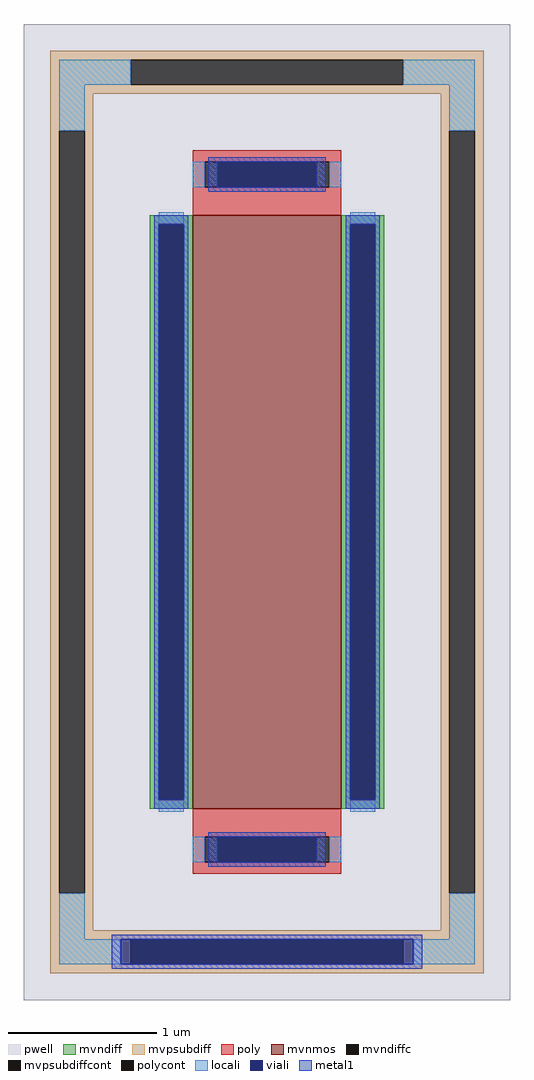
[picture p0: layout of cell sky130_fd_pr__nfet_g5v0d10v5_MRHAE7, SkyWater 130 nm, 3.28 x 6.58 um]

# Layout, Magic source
magic
tech sky130A
magscale 1 2
<< pwell >>
rect -328 -658 328 658
<< mvnmos >>
rect -100 -400 100 400
<< mvndiff >>
rect -158 388 -100 400
rect -158 -388 -146 388
rect -112 -388 -100 388
rect -158 -400 -100 -388
rect 100 388 158 400
rect 100 -388 112 388
rect 146 -388 158 388
rect 100 -400 158 -388
<< mvndiffc >>
rect -146 -388 -112 388
rect 112 -388 146 388
<< mvpsubdiff >>
rect -292 610 292 622
rect -292 576 -184 610
rect 184 576 292 610
rect -292 564 292 576
rect -292 514 -234 564
rect -292 -514 -280 514
rect -246 -514 -234 514
rect 234 514 292 564
rect -292 -564 -234 -514
rect 234 -514 246 514
rect 280 -514 292 514
rect 234 -564 292 -514
rect -292 -576 292 -564
rect -292 -610 -184 -576
rect 184 -610 292 -576
rect -292 -622 292 -610
<< mvpsubdiffcont >>
rect -184 576 184 610
rect -280 -514 -246 514
rect 246 -514 280 514
rect -184 -610 184 -576
<< poly >>
rect -100 472 100 488
rect -100 438 -84 472
rect 84 438 100 472
rect -100 400 100 438
rect -100 -438 100 -400
rect -100 -472 -84 -438
rect 84 -472 100 -438
rect -100 -488 100 -472
<< polycont >>
rect -84 438 84 472
rect -84 -472 84 -438
<< locali >>
rect -280 576 -184 610
rect 184 576 280 610
rect -280 514 -246 576
rect 246 514 280 576
rect -100 438 -84 472
rect 84 438 100 472
rect -146 388 -112 404
rect -146 -404 -112 -388
rect 112 388 146 404
rect 112 -404 146 -388
rect -100 -472 -84 -438
rect 84 -472 100 -438
rect -280 -576 -246 -514
rect 246 -576 280 -514
rect -280 -610 -197 -576
rect 197 -610 280 -576
<< viali >>
rect -67 438 67 472
rect -146 -388 -112 388
rect 112 -388 146 388
rect -67 -472 67 -438
rect -197 -610 -184 -576
rect -184 -610 184 -576
rect 184 -610 197 -576
<< metal1 >>
rect -79 472 79 478
rect -79 438 -67 472
rect 67 438 79 472
rect -79 432 79 438
rect -152 388 -106 400
rect -152 -388 -146 388
rect -112 -388 -106 388
rect -152 -400 -106 -388
rect 106 388 152 400
rect 106 -388 112 388
rect 146 -388 152 388
rect 106 -400 152 -388
rect -79 -438 79 -432
rect -79 -472 -67 -438
rect 67 -472 79 -438
rect -79 -478 79 -472
rect -209 -576 209 -570
rect -209 -610 -197 -576
rect 197 -610 209 -576
rect -209 -616 209 -610
<< properties >>
string FIXED_BBOX -263 -593 263 593
string gencell sky130_fd_pr__nfet_g5v0d10v5
string library sky130
string parameters w 4 l 1 m 1 nf 1 diffcov 100 polycov 100 guard 1 glc 1 grc 1 gtc 1 gbc 1 tbcov 100 rlcov 100 topc 1 botc 1 poverlap 0 doverlap 1 lmin 0.50 wmin 0.42 compatible {sky130_fd_pr__nfet_01v8 sky130_fd_pr__nfet_01v8_lvt  sky130_fd_bs_flash__special_sonosfet_star  sky130_fd_pr__nfet_g5v0d10v5 sky130_fd_pr__nfet_05v0_nvt  sky130_fd_pr__nfet_03v3_nvt} full_metal 1 viasrc 100 viadrn 100 viagate 80 viagb 80 viagr 0 viagl 0 viagt 0
<< end >>
